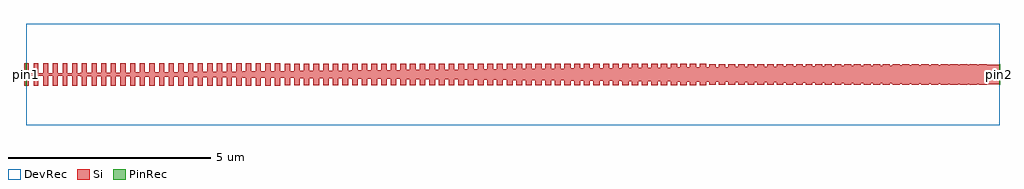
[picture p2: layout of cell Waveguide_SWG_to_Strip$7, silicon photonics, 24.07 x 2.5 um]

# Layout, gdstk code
import gdstk
lib = gdstk.Library(unit=1e-6, precision=1e-09)
def R(c, l, rs):  # rectangles x0, y0, x1, y1
    for r in rs: c.add(gdstk.rectangle(r[:2], r[2:], *l))
def P(c, l, *ps):  # polygons
    for p in ps: c.add(gdstk.Polygon(p, *l))
Si = (1, 0)
PinRec = (1, 10)
DevRec = (68, 0)

waveguide_swg_to_strip_7 = lib.new_cell('Waveguide_SWG_to_Strip$7')
R(waveguide_swg_to_strip_7, Si, [(-0.059,-0.28,0.059,0.28), (0.178,-0.279,0.298,0.279), (0.416,-0.279,0.536,0.279), (0.654,-0.279,0.775,0.279), (0.892,-0.278,1.013,0.278), (1.13,-0.278,1.252,0.278), (1.368,-0.278,1.491,0.278), (1.606,-0.277,1.729,0.277), (1.844,-0.277,1.968,0.277), (2.082,-0.277,2.206,0.277), (2.32,-0.277,2.445,0.277), (2.558,-0.276,2.684,0.276), (2.796,-0.276,2.922,0.276), (3.034,-0.276,3.161,0.276), (3.272,-0.275,3.399,0.275), (3.51,-0.275,3.638,0.275), (3.748,-0.275,3.877,0.275), (3.986,-0.274,4.115,0.274), (4.224,-0.274,4.354,0.274), (4.462,-0.274,4.592,0.274), (4.7,-0.274,4.831,0.274), (4.938,-0.273,5.069,0.273), (5.176,-0.273,5.308,0.273), (5.414,-0.273,5.547,0.273), (5.652,-0.272,5.785,0.272), (5.89,-0.272,6.024,0.272), (6.128,-0.272,6.262,0.272), (6.366,-0.271,6.501,0.271), (6.604,-0.271,6.74,0.271), (6.842,-0.271,6.978,0.271), (7.08,-0.271,7.217,0.271), (7.318,-0.27,7.455,0.27), (7.556,-0.27,7.694,0.27), (7.794,-0.27,7.933,0.27), (8.032,-0.269,8.171,0.269), (8.27,-0.269,8.41,0.269), (8.508,-0.269,8.648,0.269), (8.746,-0.268,8.887,0.268), (8.984,-0.268,9.126,0.268), (9.222,-0.268,9.364,0.268), (9.46,-0.268,9.603,0.268), (9.698,-0.267,9.841,0.267), (9.936,-0.267,10.08,0.267), (10.174,-0.267,10.319,0.267), (10.412,-0.266,10.557,0.266), (10.65,-0.266,10.796,0.266), (10.888,-0.266,11.034,0.266), (11.126,-0.265,11.273,0.265), (11.364,-0.265,11.512,0.265), (11.602,-0.265,11.75,0.265), (11.84,-0.265,11.989,0.265), (12.078,-0.264,12.227,0.264), (12.316,-0.264,12.466,0.264), (12.554,-0.264,12.705,0.264), (12.792,-0.263,12.943,0.263), (13.03,-0.263,13.182,0.263), (13.268,-0.263,13.42,0.263), (13.506,-0.262,13.659,0.262), (13.744,-0.262,13.898,0.262), (13.982,-0.262,14.136,0.262), (14.22,-0.262,14.375,0.262), (14.458,-0.261,14.613,0.261), (14.696,-0.261,14.852,0.261), (14.934,-0.261,15.09,0.261), (15.172,-0.26,15.329,0.26), (15.41,-0.26,15.568,0.26), (15.648,-0.26,15.806,0.26), (15.886,-0.259,16.045,0.259), (16.124,-0.259,16.283,0.259), (16.362,-0.259,16.522,0.259), (16.6,-0.259,16.761,0.259), (16.838,-0.258,16.999,0.258), (17.076,-0.258,17.238,0.258), (17.314,-0.258,17.476,0.258), (17.552,-0.257,17.715,0.257), (17.79,-0.257,17.954,0.257), (18.028,-0.257,18.192,0.257), (18.266,-0.256,18.431,0.256), (18.504,-0.256,18.669,0.256), (18.742,-0.256,18.908,0.256), (18.98,-0.256,19.147,0.256), (19.218,-0.255,19.385,0.255), (19.456,-0.255,19.624,0.255), (19.694,-0.255,19.862,0.255), (19.932,-0.254,20.101,0.254), (20.17,-0.254,20.34,0.254), (20.408,-0.254,20.578,0.254), (20.646,-0.253,20.817,0.253), (20.884,-0.253,21.055,0.253), (21.122,-0.253,21.294,0.253), (21.36,-0.253,21.533,0.253), (21.598,-0.252,21.771,0.252), (21.836,-0.252,22.01,0.252), (22.074,-0.252,22.248,0.252), (22.312,-0.251,22.487,0.251), (22.55,-0.251,22.726,0.251), (22.788,-0.251,22.964,0.251), (23.026,-0.25,23.203,0.25), (23.264,-0.25,23.441,0.25), (23.502,-0.25,23.68,0.25)])
P(waveguide_swg_to_strip_7, Si, [(24,-0.25),(0,-0.03),(0,0.03),(24,0.25)])
R(waveguide_swg_to_strip_7, DevRec, [(0,-1.25,24,1.25)])
waveguide_swg_to_strip_7.add(gdstk.FlexPath([(0.01,0),(-0.01,0)], 0.56, ends="flush", simple_path=True, layer=1, datatype=10))  # PinRec
waveguide_swg_to_strip_7.add(gdstk.FlexPath([(23.99,0),(24.01,0)], 0.5, ends="flush", simple_path=True, layer=1, datatype=10))  # PinRec
waveguide_swg_to_strip_7.add(gdstk.Label('pin1', (0,0), layer=1, texttype=10))
waveguide_swg_to_strip_7.add(gdstk.Label('pin2', (24,0), layer=1, texttype=10))

lib.write_gds('Waveguide_SWG_to_Strip_7.gds')
